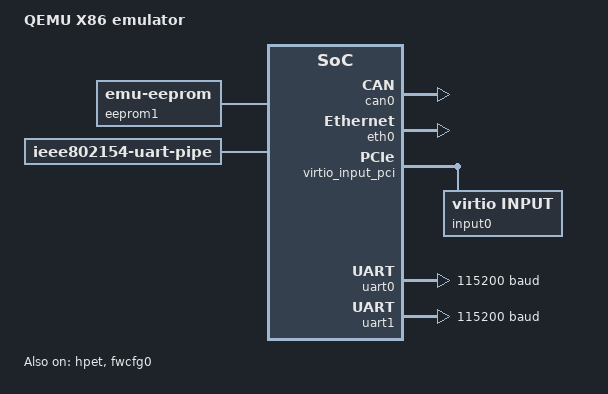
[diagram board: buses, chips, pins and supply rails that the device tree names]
/* SPDX-License-Identifier: Apache-2.0 */
/* Copyright (c) 2019 Intel Corp. */

/dts-v1/;

#include <mem.h>

#ifndef DT_DRAM_BASE
#define DT_DRAM_BASE		0
#endif
#ifndef DT_DRAM_SIZE
#define DT_DRAM_SIZE		DT_SIZE_M(32)
#endif
#define DT_FLASH_SIZE		DT_SIZE_K(4096)

#include <intel/atom.dtsi>
#include <zephyr/dt-bindings/pcie/pcie.h>
#include <zephyr/dt-bindings/gpio/gpio.h>
#include <zephyr/dt-bindings/input/input-event-codes.h>

/ {
	model = "QEMU X86 emulator";
	compatible = "qemu,x86_emulator";

	flash0: flash@500000 {
		compatible = "soc-nv-flash";
		reg = <0x00500000 DT_FLASH_SIZE>;
	};

	aliases {
		uart-0 = &uart0;
		uart-1 = &uart1;
		eeprom-0 = &eeprom0;
		eeprom-1 = &eeprom1;
		rtc = &rtc;
		led0 = &led0;
		sw0 = &button0;
	};

	chosen {
		zephyr,sram = &dram0;
		zephyr,flash = &flash0;
		zephyr,console = &uart0;
		zephyr,bt-hci = &bt_hci_uart;
		zephyr,shell-uart = &uart0;
		zephyr,uart-pipe = &uart1;
		zephyr,bt-mon-uart = &uart1;
		zephyr,code-partition = &slot0_partition;
		zephyr,flash-controller = &sim_flash;
		zephyr,ieee802154 = &ieee802154;
		zephyr,canbus = &can0;
		zephyr,display = &ramfb0;
		zephyr,touch = &input0;
	};

	pcie0: pcie0 {
		#address-cells = <1>;
		#size-cells = <1>;
		compatible = "pcie-controller";
		acpi-hid = "PNP0A08";
		ranges;

		can0: can0 {
			compatible = "kvaser,pcican";
			status = "okay";
			vendor-id = <0x10e8>;
			device-id = <0x8406>;
			interrupts = <11 IRQ_TYPE_LOWEST_LEVEL_LOW 3>;
			interrupt-parent = <&intc>;

			can-transceiver {
				max-bitrate = <1000000>;
			};
		};

		eth0: eth0 {
			compatible = "intel,e1000";

			vendor-id = <0x8086>;
			device-id = <0x100e>;

			interrupts = <11 IRQ_TYPE_LOWEST_EDGE_RISING 3>;
			interrupt-parent = <&intc>;

			status = "okay";
		};

		virtio_input_pci: virtio-input-pci {
			compatible = "virtio,pci";

			vendor-id = <0x1af4>;
			device-id = <0x1052>;

			interrupts = <10 IRQ_TYPE_LOWEST_EDGE_RISING 3>;
			interrupt-parent = <&intc>;

			status = "okay";

			input0: virtio-input {
				compatible = "virtio,input";
				display = <&ramfb0>;
				status = "okay";
			};
		};

		/*
		 * The VIRTIO devices below are all disabled by default, unlike
		 * on the MMIO QEMU boards: q35 routes every PCI slot to one of
		 * two INTx lines, and a line carries a single ISR, so the input
		 * device above is all this board can afford to keep on
		 * unconditionally. Their interrupts match the slots board.cmake
		 * pins the QEMU devices to.
		 *
		 * The GPIO and I2C ones additionally need a vhost-user backend
		 * listening before QEMU starts. See the board documentation.
		 */
		virtio_blk_pci: virtio-blk-pci {
			compatible = "virtio,pci";

			vendor-id = <0x1af4>;
			device-id = <0x1001>;

			interrupts = <11 IRQ_TYPE_LOWEST_EDGE_RISING 3>;
			interrupt-parent = <&intc>;

			status = "disabled";

			virtio_blk0: virtio-blk {
				compatible = "virtio,blk";
				disk-name = "VIRTIOBLK0";
				status = "disabled";
			};
		};

		virtio_gpio_pci: virtio-gpio-pci {
			compatible = "virtio,pci";

			vendor-id = <0x1af4>;
			device-id = <0x1069>;

			interrupts = <11 IRQ_TYPE_LOWEST_EDGE_RISING 3>;
			interrupt-parent = <&intc>;

			status = "disabled";

			virtio_gpio0: virtio-gpio {
				compatible = "virtio,gpio";
				gpio-controller;
				#gpio-cells = <2>;
				status = "disabled";
			};
		};

		virtio_i2c_pci: virtio-i2c-pci {
			compatible = "virtio,pci";

			vendor-id = <0x1af4>;
			device-id = <0x1062>;

			interrupts = <10 IRQ_TYPE_LOWEST_EDGE_RISING 3>;
			interrupt-parent = <&intc>;

			status = "disabled";

			virtio_i2c0: virtio-i2c {
				compatible = "virtio,i2c";
				#address-cells = <1>;
				#size-cells = <0>;
				status = "disabled";
			};
		};
	};

	sim_flash: sim_flash {
		compatible = "zephyr,sim-flash";

		#address-cells = <1>;
		#size-cells = <1>;
		erase-value = <0xff>;

		flash_sim0: flash_sim@0 {
			compatible = "soc-nv-flash";
			reg = <0x00000000 DT_SIZE_K(1024)>;

			erase-block-size = <1024>;
			write-block-size = <4>;
		};
	};

	eeprom1: eeprom1 {
		status = "okay";
		compatible = "zephyr,emu-eeprom";
		size = <DT_SIZE_K(4)>;
		pagesize = <DT_SIZE_K(8)>;
		partition = <&eepromemu_partition>;
		rambuf;
	};

	eeprom0: eeprom0 {
		status = "okay";
		compatible = "zephyr,sim-eeprom";
		size = <DT_SIZE_K(4)>;
	};

	ieee802154: ieee802154 {
		compatible = "zephyr,ieee802154-uart-pipe";
	};

	fwcfg0: fw-cfg@510 {
		compatible = "qemu,fw-cfg-ioport";
		reg = <0x510 0x18>;
		status = "okay";
	};

	reserved-memory {
		#address-cells = <1>;
		#size-cells = <1>;
		ranges;

		ramfb_mem: framebuffer@1c00000 {
			reg = <0x01c00000 0x00400000>; /* 4 MiB */
			no-map;
		};
	};

	ramfb0: ramfb {
		compatible = "qemu,ramfb";
		fwcfg = <&fwcfg0>;
		memory-region = <&ramfb_mem>;
		width = <1024>;
		height = <768>;
		status = "okay";
	};

	/*
	 * LED and button lines on the VIRTIO GPIO controller, disabled along
	 * with it.
	 */
	leds: leds {
		compatible = "gpio-leds";
		status = "disabled";

		led0: led_0 {
			gpios = <&virtio_gpio0 0 GPIO_ACTIVE_HIGH>;
			label = "LED 0";
			status = "disabled";
		};
	};

	buttons: buttons {
		compatible = "gpio-keys";
		status = "disabled";

		button0: button_0 {
			gpios = <&virtio_gpio0 1 GPIO_ACTIVE_LOW>;
			label = "Button 0";
			zephyr,code = <INPUT_KEY_0>;
			status = "disabled";
		};
	};
};

&uart0 {
	status = "okay";
	current-speed = <115200>;
};

&uart1 {
	status = "okay";
	current-speed = <115200>;

	bt_hci_uart: bt_hci_uart {
		compatible = "zephyr,bt-hci-uart";
		status = "okay";
	};
};

&hpet {
	status = "okay";
};

&flash_sim0 {
	partitions {
		ranges;
		#address-cells = <1>;
		#size-cells = <1>;

		/*
		 * Storage partition will be used by FCB/LittleFS/NVS
		 * if enabled.
		 */
		storage_partition: partition@1000 {
			compatible = "zephyr,mapped-partition";
			label = "storage";
			reg = <0x00001000 0x00010000>;
		};

		slot0_partition: partition@11000 {
			compatible = "zephyr,mapped-partition";
			label = "image-0";
			reg = <0x00011000 0x00010000>;
		};

		slot1_partition: partition@21000 {
			compatible = "zephyr,mapped-partition";
			label = "image-1";
			reg = <0x00021000 0x00010000>;
		};

		eepromemu_partition: partition@31000 {
			compatible = "zephyr,mapped-partition";
			label = "eeprom-emu";
			reg = <0x00031000 0x00010000>;
		};
	};
};

&cpu {
	compatible = "intel,x86";
};

zephyr_i2c: &virtio_i2c0 {};
